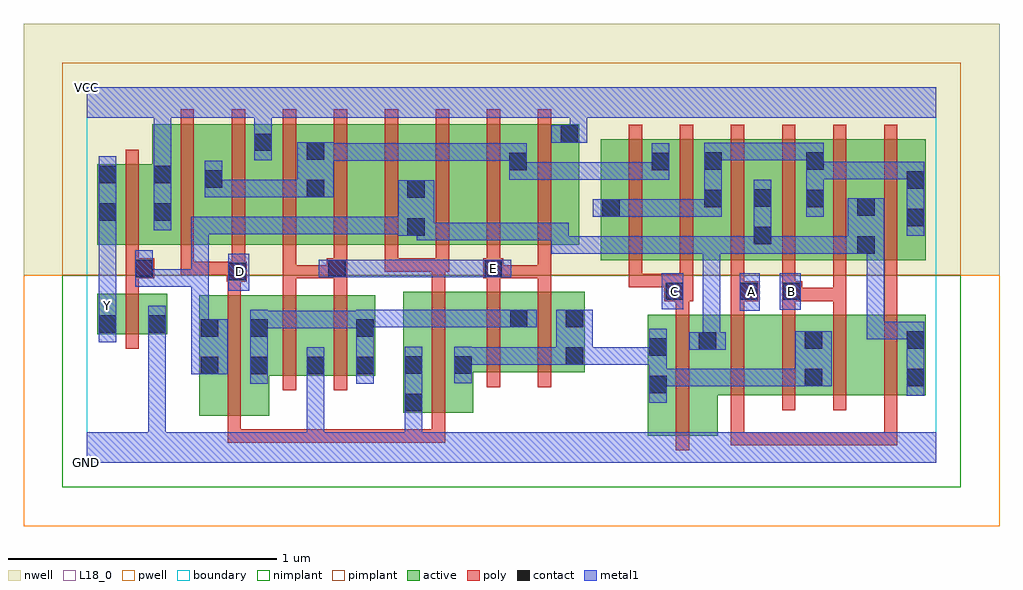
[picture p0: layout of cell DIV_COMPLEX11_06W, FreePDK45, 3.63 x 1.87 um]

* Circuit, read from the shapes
.subckt DIV_COMPLEX11_06W A B C D E GND VCC Y
M1 GND n1 Y VSUBS nfet w=0.15u l=0.05u
M2 n2 D n1 VSUBS nfet w=0.45u l=0.05u
M3 GND E n2 VSUBS nfet w=0.3u l=0.05u m=2
M4 n3 D GND VSUBS nfet w=0.45u l=0.05u
M5 n2 E n3 VSUBS nfet w=0.3u l=0.05u m=2
M6 n1 C n3 VSUBS nfet w=0.45u l=0.05u
M7 n4 A n1 VSUBS nfet w=0.3u l=0.05u
M8 n3 B n4 VSUBS nfet w=0.3u l=0.05u
M9 n5 B n3 VSUBS nfet w=0.3u l=0.05u
M10 n1 A n5 VSUBS nfet w=0.3u l=0.05u
M11 VCC n1 Y n6 pfet w=0.3u l=0.05u
M12 n7 D VCC n6 pfet w=0.45u l=0.05u m=2
M13 n7 E VCC n6 pfet w=0.45u l=0.05u m=2
M14 n8 E n7 n6 pfet w=0.45u l=0.05u
M15 n1 D n8 n6 pfet w=0.45u l=0.05u
M16 n9 D n1 n6 pfet w=0.45u l=0.05u
M17 n7 E n9 n6 pfet w=0.45u l=0.05u
M18 n7 C n10 n6 pfet w=0.45u l=0.05u m=2
M19 n1 A n10 n6 pfet w=0.45u l=0.05u m=2
M20 n10 B n1 n6 pfet w=0.45u l=0.05u m=2
.ends

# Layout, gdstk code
import gdstk
lib = gdstk.Library(unit=1e-6, precision=1e-09)
def R(c, l, rs):  # rectangles x0, y0, x1, y1
    for r in rs: c.add(gdstk.rectangle(r[:2], r[2:], *l))
def A(c, l, x, y, w, h, nx, ny, dx, dy):  # array of equal rectangles
    R(c, l, [(x+i*dx, y+j*dy, x+i*dx+w, y+j*dy+h) for i in range(nx) for j in range(ny)])
active = (1, 0)
pwell = (2, 0)
nwell = (3, 0)
nimplant = (4, 0)
pimplant = (5, 0)
poly = (9, 0)
contact = (10, 0)
metal1 = (11, 0)
L18_0 = (18, 0)
boundary = (235, 0)

div_complex11_06w = lib.new_cell('DIV_COMPLEX11_06W')
R(div_complex11_06w, active, [(2.09,0.102,2.35,0.552), (0.42,0.175,0.68,0.625), (1.18,0.187,1.44,0.637), (1.18,0.187,1.255,0.637), (0.42,0.195,0.495,0.625), (2.09,0.195,2.165,0.552), (0.605,0.2,0.68,0.54), (1.365,0.2,1.44,0.547), (2.275,0.252,2.52,0.552), (2.52,0.252,2.745,0.552), (2.67,0.252,2.9,0.552), (2.9,0.252,3.125,0.552), (3.05,0.252,3.125,0.552), (2.67,0.28,2.745,0.517), (0.605,0.325,0.89,0.625), (0.815,0.325,1.075,0.625), (0.815,0.325,0.89,0.547), (1,0.325,1.075,0.625), (2.275,0.33,2.35,0.492), (1.365,0.337,1.647,0.637), (1.572,0.337,1.855,0.637), (1.78,0.337,1.855,0.637), (1.572,0.345,1.647,0.575), (0.04,0.48,0.115,0.63), (0.04,0.48,0.3,0.63), (0.225,0.48,0.3,0.63), (1.915,0.755,2.175,1.205), (1.915,0.755,1.99,1.047), (2.1,0.755,2.37,1.205), (2.295,0.755,2.555,1.205), (2.48,0.755,2.555,1.07), (2.48,0.755,2.75,1.205), (2.675,0.755,2.94,1.205), (2.865,0.755,3.125,1.205), (2.865,0.755,2.94,1.07), (3.05,0.755,3.125,1.2), (0.04,0.812,0.115,1.112), (0.04,0.812,0.32,1.112), (0.245,0.812,0.32,1.112), (0.245,0.812,0.51,1.262), (0.435,0.812,0.695,1.262), (0.62,0.812,0.89,1.262), (0.815,0.812,1.04,1.262), (1.04,0.812,1.265,1.262), (1.19,0.812,1.42,1.262), (1.19,0.812,1.265,1.07), (1.42,0.812,1.645,1.262), (1.57,0.812,1.835,1.262), (1.57,0.812,1.645,1.2), (0.815,0.827,0.89,1.2), (2.675,0.827,2.75,1.2), (0.435,0.857,0.51,1.2), (0.62,0.857,0.695,1.262), (1.76,0.857,1.835,1.262), (2.1,0.857,2.175,1.2), (2.295,0.857,2.37,1.2)])
R(div_complex11_06w, pwell, [(-0.235,-0.235,3.4,0.7)])
R(div_complex11_06w, nwell, [(-0.235,0.7,3.4,1.635)])
R(div_complex11_06w, nimplant, [(-0.09,-0.09,3.255,0.7)])
R(div_complex11_06w, pimplant, [(-0.09,0.7,3.255,1.49)])
A(div_complex11_06w, poly, 2.4, 0.197, 0.05, 0.41, 4, 1, 0.19, 0)
A(div_complex11_06w, poly, 2.4, 0.557, 0.05, 0.095, 4, 1, 0.19, 0)
A(div_complex11_06w, poly, 2.02, 0.7, 0.05, 0.56, 6, 1, 0.19, 0)
A(div_complex11_06w, poly, 0.92, 0.712, 0.05, 0.095, 4, 1, 0.19, 0)
A(div_complex11_06w, poly, 0.35, 0.757, 0.05, 0.56, 8, 1, 0.19, 0)
R(div_complex11_06w, poly, [(2.195,0.047,2.245,0.607), (2.4,0.065,2.45,0.115), (2.4,0.065,2.45,0.115), (2.4,0.065,2.45,0.115), (2.4,0.065,2.45,0.247), (2.4,0.065,2.697,0.115), (2.647,0.065,2.697,0.115), (2.647,0.065,2.697,0.115), (2.647,0.065,2.697,0.115), (2.647,0.065,2.83,0.115), (2.78,0.065,2.83,0.115), (2.78,0.065,2.83,0.115), (2.78,0.065,2.83,0.115), (2.78,0.065,3.02,0.115), (2.97,0.065,3.02,0.115), (2.97,0.065,3.02,0.247), (0.525,0.075,0.575,0.17), (0.525,0.075,0.575,0.125), (0.525,0.075,0.812,0.125), (0.762,0.075,0.812,0.125), (0.762,0.075,0.812,0.125), (0.762,0.075,0.812,0.125), (0.762,0.075,0.945,0.125), (0.895,0.075,0.945,0.125), (0.895,0.075,0.945,0.125), (0.895,0.075,0.945,0.125), (0.895,0.075,1.102,0.125), (1.052,0.075,1.102,0.125), (1.052,0.075,1.102,0.125), (1.052,0.075,1.102,0.125), (1.052,0.075,1.335,0.125), (1.285,0.075,1.335,0.125), (1.285,0.075,1.335,0.125), (1.285,0.075,1.335,0.125), (1.285,0.075,1.335,0.182), (0.525,0.12,0.575,0.68), (1.285,0.132,1.335,0.692), (0.73,0.27,0.78,0.68), (0.92,0.27,0.97,0.68), (1.49,0.282,1.54,0.692), (1.68,0.282,1.73,0.692), (0.145,0.425,0.195,0.685), (2.195,0.557,2.245,0.652), (2.152,0.602,2.26,0.705), (2.4,0.602,2.502,0.677), (2.59,0.602,2.665,0.677), (2.615,0.602,2.665,0.652), (2.615,0.602,2.665,0.652), (2.615,0.602,2.83,0.652), (2.78,0.602,2.83,0.75), (2.78,0.602,2.83,0.652), (2.97,0.602,3.02,0.75), (2.97,0.602,3.02,0.652), (2.4,0.627,2.45,0.75), (2.59,0.627,2.64,0.75), (0.525,0.63,0.575,0.725), (0.73,0.63,0.78,0.737), (0.92,0.63,0.97,0.737), (0.145,0.635,0.195,0.737), (1.285,0.642,1.335,0.762), (1.49,0.642,1.54,0.737), (1.68,0.642,1.73,0.737), (2.02,0.655,2.07,0.75), (2.02,0.655,2.07,0.705), (2.02,0.655,2.07,0.705), (2.02,0.655,2.07,0.705), (2.02,0.655,2.202,0.705), (2.21,0.655,2.26,0.75), (0.522,0.675,0.597,0.75), (0.145,0.687,0.252,0.762), (0.73,0.687,0.78,0.737), (0.73,0.687,0.945,0.737), (0.73,0.687,0.78,0.807), (0.895,0.687,0.945,0.737), (0.895,0.687,0.945,0.737), (0.895,0.687,0.97,0.762), (1.477,0.687,1.552,0.762), (1.502,0.687,1.73,0.737), (1.68,0.687,1.73,0.737), (1.68,0.687,1.73,0.737), (1.68,0.687,1.73,0.737), (1.68,0.687,1.73,0.807), (0.35,0.7,0.4,0.75), (0.35,0.7,0.4,0.807), (0.35,0.7,0.572,0.75), (0.522,0.7,0.572,0.75), (0.522,0.7,0.572,0.75), (0.54,0.7,0.59,0.807), (0.145,0.712,0.195,0.807), (1.11,0.712,1.16,0.762), (1.11,0.712,1.335,0.762), (1.285,0.712,1.335,0.762), (1.285,0.712,1.335,0.762), (1.285,0.712,1.35,0.762), (0.145,0.757,0.195,1.167)])
R(div_complex11_06w, contact, [(1.185,0.192,1.25,0.257), (2.095,0.26,2.16,0.325), (2.675,0.285,2.74,0.35), (3.055,0.285,3.12,0.35), (0.425,0.33,0.49,0.395), (0.61,0.33,0.675,0.395), (0.82,0.33,0.885,0.395), (1.005,0.33,1.07,0.395), (1.185,0.332,1.25,0.397), (1.37,0.332,1.435,0.397), (1.785,0.365,1.85,0.43), (2.095,0.4,2.16,0.465), (2.28,0.422,2.345,0.487), (2.675,0.425,2.74,0.49), (3.055,0.425,3.12,0.49), (0.425,0.47,0.49,0.535), (0.61,0.47,0.675,0.535), (1.005,0.47,1.07,0.535), (0.045,0.485,0.11,0.55), (0.23,0.485,0.295,0.55), (1.577,0.505,1.642,0.57), (1.785,0.505,1.85,0.57), (2.157,0.607,2.222,0.672), (2.432,0.607,2.497,0.672), (2.595,0.607,2.66,0.672), (0.527,0.68,0.592,0.745), (0.182,0.692,0.247,0.757), (0.9,0.692,0.965,0.757), (1.482,0.692,1.547,0.757), (2.87,0.78,2.935,0.845), (2.485,0.815,2.55,0.88), (1.195,0.847,1.26,0.912), (3.055,0.882,3.12,0.947), (0.045,0.902,0.11,0.967), (0.25,0.902,0.315,0.967), (1.92,0.917,1.985,0.982), (2.87,0.92,2.935,0.985), (2.3,0.952,2.365,1.017), (2.68,0.952,2.745,1.017), (2.485,0.955,2.55,1.02), (1.195,0.987,1.26,1.052), (0.82,0.99,0.885,1.055), (3.055,1.022,3.12,1.087), (0.44,1.025,0.505,1.09), (0.045,1.042,0.11,1.107), (0.25,1.042,0.315,1.107), (1.575,1.09,1.64,1.155), (2.105,1.09,2.17,1.155), (2.3,1.092,2.365,1.157), (2.68,1.092,2.745,1.157), (0.82,1.13,0.885,1.195), (0.625,1.162,0.69,1.227), (1.765,1.192,1.83,1.257)])
R(div_complex11_06w, metal1, [(0,0,3.165,0.115), (0.23,0.05,0.295,0.115), (0.23,0.05,0.295,0.115), (0.23,0.05,0.295,0.115), (0.23,0.05,0.295,0.115), (0.23,0.05,0.295,0.115), (0.23,0.05,0.295,0.115), (0.23,0.05,0.295,0.515), (0.82,0.05,0.885,0.115), (0.82,0.05,0.885,0.115), (0.82,0.05,0.885,0.36), (1.185,0.05,1.25,0.222), (1.185,0.157,1.25,0.222), (1.185,0.157,1.25,0.222), (1.185,0.157,1.25,0.432), (2.095,0.225,2.16,0.5), (3.055,0.25,3.12,0.525), (2.095,0.285,2.16,0.35), (2.095,0.285,2.16,0.35), (2.095,0.285,2.372,0.35), (2.307,0.285,2.372,0.35), (2.307,0.285,2.51,0.35), (2.445,0.285,2.51,0.35), (2.445,0.285,2.51,0.35), (2.445,0.285,2.51,0.35), (2.445,0.285,2.705,0.35), (2.64,0.285,2.705,0.35), (2.64,0.285,2.705,0.35), (2.64,0.285,2.775,0.49), (0.61,0.295,0.675,0.57), (0.82,0.295,0.885,0.36), (0.82,0.295,0.885,0.36), (0.82,0.295,0.885,0.43), (1.005,0.295,1.07,0.57), (1.37,0.297,1.435,0.432), (0.39,0.33,0.525,0.535), (1.37,0.365,1.435,0.43), (1.37,0.365,1.435,0.43), (1.37,0.365,1.657,0.43), (1.592,0.365,1.657,0.43), (1.592,0.365,1.815,0.43), (1.75,0.365,1.815,0.43), (1.75,0.365,1.815,0.43), (1.75,0.365,1.885,0.57), (1.82,0.365,2.022,0.43), (1.957,0.365,2.022,0.43), (1.957,0.365,2.022,0.43), (1.957,0.365,2.022,0.43), (1.957,0.365,2.16,0.43), (2.245,0.422,2.38,0.487), (2.295,0.422,2.36,0.845), (0.045,0.45,0.11,0.585), (0.23,0.45,0.295,0.585), (2.905,0.46,2.97,0.525), (2.905,0.46,2.97,0.525), (2.905,0.46,2.97,0.525), (2.905,0.46,3.12,0.525), (2.905,0.46,2.97,0.845), (3.055,0.46,3.12,0.525), (3.055,0.46,3.12,0.525), (0.39,0.47,0.455,0.722), (0.61,0.502,0.78,0.567), (0.715,0.502,0.78,0.567), (0.715,0.502,0.917,0.567), (0.852,0.502,0.917,0.567), (0.852,0.502,0.917,0.567), (0.852,0.502,0.917,0.567), (0.852,0.502,1.07,0.567), (1.005,0.505,1.137,0.57), (1.072,0.505,1.137,0.57), (1.072,0.505,1.297,0.57), (1.232,0.505,1.297,0.57), (1.232,0.505,1.297,0.57), (1.232,0.505,1.297,0.57), (1.232,0.505,1.462,0.57), (1.397,0.505,1.462,0.57), (1.397,0.505,1.462,0.57), (1.397,0.505,1.462,0.57), (1.397,0.505,1.607,0.57), (1.542,0.505,1.677,0.57), (0.045,0.52,0.11,0.585), (0.045,0.52,0.11,0.655), (2.432,0.567,2.507,0.707), (2.582,0.57,2.66,0.707), (2.142,0.572,2.222,0.707), (0.045,0.59,0.11,0.932), (0.527,0.642,0.605,0.78), (0.182,0.657,0.247,0.722), (0.182,0.657,0.247,0.722), (0.182,0.657,0.247,0.792), (0.182,0.657,0.455,0.722), (0.39,0.657,0.455,0.722), (0.39,0.657,0.455,0.722), (0.39,0.657,0.455,0.722), (0.39,0.657,0.455,0.917), (0.865,0.692,1,0.757), (0.935,0.692,1.087,0.757), (1.022,0.692,1.087,0.757), (1.022,0.692,1.137,0.757), (1.072,0.692,1.137,0.757), (1.072,0.692,1.297,0.757), (1.232,0.692,1.297,0.757), (1.232,0.692,1.297,0.757), (1.232,0.692,1.297,0.757), (1.232,0.692,1.462,0.757), (1.397,0.692,1.462,0.757), (1.397,0.692,1.512,0.757), (1.447,0.692,1.582,0.757), (1.73,0.78,1.795,0.845), (1.73,0.78,1.795,0.845), (1.73,0.78,2.022,0.845), (1.73,0.78,1.795,0.895), (1.957,0.78,2.022,0.845), (1.957,0.78,2.022,0.845), (1.957,0.78,2.022,0.845), (1.957,0.78,2.172,0.845), (2.107,0.78,2.172,0.845), (2.107,0.78,2.172,0.845), (2.107,0.78,2.172,0.845), (2.107,0.78,2.36,0.845), (2.295,0.78,2.36,0.845), (2.295,0.78,2.36,0.845), (2.295,0.78,2.36,0.845), (2.295,0.78,2.36,0.845), (2.295,0.78,2.36,0.845), (2.295,0.78,2.55,0.845), (2.485,0.78,2.55,1.055), (2.485,0.78,2.687,0.845), (2.622,0.78,2.687,0.845), (2.622,0.78,2.687,0.845), (2.622,0.78,2.687,0.845), (2.622,0.78,2.9,0.845), (2.835,0.78,2.9,0.845), (2.835,0.78,2.9,0.845), (2.835,0.78,2.97,0.985), (1.23,0.83,1.462,0.895), (1.23,0.83,1.295,0.912), (1.397,0.83,1.462,0.895), (1.397,0.83,1.6,0.895), (1.535,0.83,1.6,0.895), (1.535,0.83,1.6,0.895), (1.535,0.83,1.6,0.895), (1.535,0.83,1.795,0.895), (1.16,0.847,1.295,1.052), (1.23,0.847,1.295,0.912), (3.055,0.847,3.12,1.122), (0.39,0.852,0.455,0.917), (0.39,0.852,0.642,0.917), (0.577,0.852,0.642,0.917), (0.577,0.852,0.642,0.917), (0.577,0.852,0.642,0.917), (0.577,0.852,0.78,0.917), (0.715,0.852,0.78,0.917), (0.715,0.852,0.812,0.917), (0.747,0.852,0.812,0.917), (0.747,0.852,0.932,0.917), (0.867,0.852,0.932,0.917), (0.867,0.852,1.087,0.917), (1.022,0.852,1.087,0.917), (1.022,0.852,1.157,0.917), (1.092,0.852,1.157,0.917), (1.092,0.852,1.225,0.917), (0.045,0.867,0.11,1.142), (0.25,0.867,0.315,1.142), (1.885,0.917,2.02,0.982), (1.955,0.917,2.022,0.982), (1.957,0.917,2.022,0.982), (1.957,0.917,2.16,0.982), (2.095,0.917,2.16,0.982), (2.095,0.917,2.16,0.982), (2.095,0.917,2.16,0.982), (2.095,0.917,2.365,0.982), (2.3,0.917,2.365,1.192), (2.68,0.917,2.745,1.192), (0.44,0.99,0.642,1.055), (0.44,0.99,0.505,1.125), (0.577,0.99,0.642,1.055), (0.577,0.99,0.642,1.055), (0.577,0.99,0.642,1.055), (0.577,0.99,0.78,1.055), (0.715,0.99,0.78,1.055), (0.715,0.99,0.85,1.055), (0.785,0.99,0.92,1.195), (1.575,1.055,1.64,1.19), (1.575,1.055,1.812,1.12), (1.747,1.055,1.812,1.12), (1.747,1.055,1.812,1.12), (1.747,1.055,1.812,1.12), (1.747,1.055,2.022,1.12), (1.957,1.055,2.022,1.12), (1.957,1.055,2.022,1.12), (1.957,1.055,2.022,1.12), (1.957,1.055,2.17,1.12), (2.105,1.055,2.17,1.19), (2.68,1.057,2.882,1.122), (2.817,1.057,2.882,1.122), (2.817,1.057,2.882,1.122), (2.817,1.057,2.882,1.122), (2.817,1.057,3.12,1.122), (3.055,1.057,3.12,1.122), (3.055,1.057,3.12,1.122), (0.25,1.077,0.315,1.35), (0.855,1.125,0.92,1.19), (0.855,1.125,0.92,1.19), (0.855,1.125,1.07,1.19), (1.005,1.125,1.07,1.19), (1.005,1.125,1.137,1.19), (1.072,1.125,1.137,1.19), (1.072,1.125,1.297,1.19), (1.232,1.125,1.297,1.19), (1.232,1.125,1.297,1.19), (1.232,1.125,1.297,1.19), (1.232,1.125,1.435,1.19), (1.37,1.125,1.435,1.19), (1.37,1.125,1.64,1.19), (1.575,1.125,1.64,1.19), (1.575,1.125,1.64,1.19), (0.625,1.127,0.69,1.262), (2.3,1.127,2.365,1.192), (2.3,1.127,2.365,1.192), (2.3,1.127,2.55,1.192), (2.485,1.127,2.55,1.192), (2.485,1.127,2.745,1.192), (2.68,1.127,2.745,1.192), (2.68,1.127,2.745,1.192), (1.73,1.192,1.865,1.257), (1.8,1.192,1.865,1.35), (0.625,1.197,0.69,1.35), (0,1.285,3.165,1.4)])
R(div_complex11_06w, L18_0, [(0,0,3.165,0.115), (0.23,0.05,0.295,0.115), (0.23,0.05,0.295,0.115), (0.23,0.05,0.295,0.115), (0.23,0.05,0.295,0.115), (0.23,0.05,0.295,0.115), (0.23,0.05,0.295,0.115), (0.23,0.05,0.295,0.515), (0.82,0.05,0.885,0.115), (0.82,0.05,0.885,0.115), (0.82,0.05,0.885,0.36), (1.185,0.05,1.25,0.222), (1.185,0.157,1.25,0.222), (1.185,0.157,1.25,0.222), (1.185,0.157,1.25,0.432), (0.82,0.295,0.885,0.43), (0.82,0.295,0.885,0.36), (0.82,0.295,0.885,0.36), (0.045,0.45,0.11,0.585), (0.23,0.45,0.295,0.585), (0.045,0.52,0.11,0.655), (0.045,0.52,0.11,0.585), (0.045,0.555,0.11,0.62), (2.432,0.567,2.507,0.707), (2.582,0.57,2.66,0.707), (2.142,0.572,2.222,0.707), (0.045,0.59,0.11,0.932), (2.157,0.607,2.222,0.672), (2.442,0.607,2.507,0.672), (2.595,0.607,2.66,0.672), (0.527,0.642,0.605,0.78), (0.54,0.68,0.605,0.745), (0.865,0.692,1,0.757), (0.935,0.692,1.087,0.757), (1.022,0.692,1.087,0.757), (1.022,0.692,1.137,0.757), (1.072,0.692,1.137,0.757), (1.072,0.692,1.297,0.757), (1.232,0.692,1.297,0.757), (1.232,0.692,1.297,0.757), (1.232,0.692,1.297,0.757), (1.232,0.692,1.462,0.757), (1.397,0.692,1.462,0.757), (1.397,0.692,1.512,0.757), (1.447,0.692,1.582,0.757), (1.482,0.692,1.547,0.757), (0.045,0.867,0.11,1.142), (0.25,0.867,0.315,1.142), (0.25,1.077,0.315,1.35), (0.625,1.127,0.69,1.262), (1.73,1.192,1.865,1.257), (1.8,1.192,1.865,1.35), (0.625,1.197,0.69,1.35), (0,1.285,3.165,1.4)])
R(div_complex11_06w, boundary, [(0,0,3.165,1.4)])
div_complex11_06w.add(gdstk.Label('A', (2.475,0.64), layer=11, texttype=0))
div_complex11_06w.add(gdstk.Label('B', (2.627,0.64), layer=11, texttype=0))
div_complex11_06w.add(gdstk.Label('C', (2.19,0.64), layer=11, texttype=0))
div_complex11_06w.add(gdstk.Label('D', (0.572,0.712), layer=11, texttype=0))
div_complex11_06w.add(gdstk.Label('E', (1.515,0.725), layer=11, texttype=0))
div_complex11_06w.add(gdstk.Label('Y', (0.077,0.587), layer=11, texttype=0))
div_complex11_06w.add(gdstk.Label('VCC', (0,1.4), layer=11, texttype=0))
div_complex11_06w.add(gdstk.Label('GND', (0,0), layer=11, texttype=0))

lib.write_gds('DIV_COMPLEX11_06W.gds')
